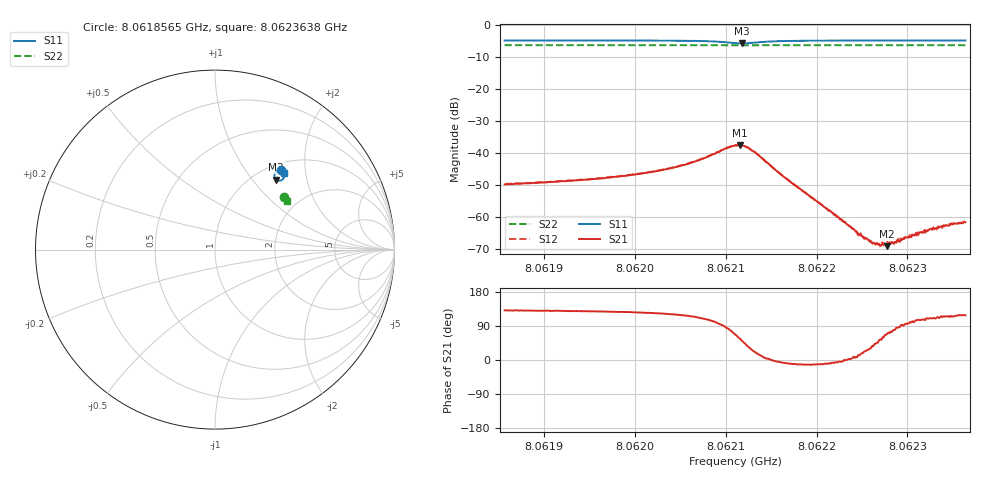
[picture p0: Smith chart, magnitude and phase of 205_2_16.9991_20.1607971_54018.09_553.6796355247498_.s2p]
#  HZ  S  RI  R  50.00
! Rohde & Schwarz Vector Network Analyzer
! Rohde-Schwarz,ZNB20-2Port,1311601062101988,3.16
! Created: UTC 3/20/2024, 11:01:13 PM
! freq[Hz]  re:S11  im:S11  re:S21  im:S21  re:S12  im:S12  re:S22  im:S22
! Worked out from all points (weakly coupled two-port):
!   401 points, 8.0618565 GHz to 8.0623638 GHz, reference 50 ohm
!   highest |S21| = -37.56 dB at 8.0621152 GHz (marker M1); lowest = -69.2 dB at 8.0622775 GHz (marker M2)
!   lowest |S11| = -5.7 dB at 8.0621177 GHz (marker M3), VSWR 3.15, Z = 62.3 + j66.5 ohm
!   |S11| at or under -10 dB: nowhere
!   |S22| runs from -6.3 to -6.3 dB; largest |S21 - S12| = 0.00097
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8.06185652e9  0.3672 0.4435  -0.0021 0.00242  -0.00199 0.0026  0.3871 0.2948
8.06194148e9  0.3737 0.4376  -0.00239 0.00292  -0.00224 0.0031  0.39 0.2906
8.06202644e9  0.3816 0.4275  -0.00286 0.00442  -0.00264 0.00463  0.3931 0.2861
8.06206448e9  0.3855 0.4161  -0.00297 0.00655  -0.00261 0.0068  0.3941 0.2839
8.06211014e9  0.3563 0.3842  0.00503 0.0121  0.00575 0.012  0.3938 0.2808
8.06211521e9  0.3454 0.3873  0.00721 0.0111  0.00799 0.0107  0.3935 0.2808
8.06211774e9  0.3405 0.3905  0.00831 0.0101  0.00887 0.00967  0.3934 0.2809
8.06213296e9  0.3317 0.4196  0.00939 0.00334  0.00959 0.00277  0.394 0.2817
8.0621634e9  0.3539 0.439  0.00424 -0.000547  0.00426 -0.000822  0.3962 0.2808
8.0621951e9  0.3661 0.4385  0.00191 -0.000434  0.00194 -0.000546  0.3978 0.2791
8.06224455e9  0.3754 0.4348  0.000568 7.13e-05  0.000552 7.32e-05  0.3996 0.2764
8.06226104e9  0.3774 0.4335  0.000311 0.000232  0.000324 0.000215  0.4001 0.2755
8.06226738e9  0.3781 0.4332  0.00026 0.000267  0.000259 0.000259  0.4004 0.2752
8.06227753e9  0.3792 0.4325  0.000124 0.000324  0.000165 0.000376  0.4007 0.2747
8.06228006e9  0.3796 0.4323  0.000127 0.000365  0.000136 0.000373  0.4008 0.2746
8.0622864e9  0.3802 0.432  7.1e-05 0.000406  7.06e-05 0.000399  0.4011 0.2744
8.06229781e9  0.3812 0.4311  -4.87e-05 0.000477  -3.08e-06 0.00044  0.4015 0.2738
8.06230416e9  0.3817 0.4307  -7.67e-05 0.000476  -7.42e-05 0.000508  0.4017 0.2735
8.0623105e9  0.3824 0.4302  -0.000137 0.000516  -0.000109 0.000501  0.4019 0.2731
8.06232571e9  0.3836 0.4294  -0.000227 0.000612  -0.000178 0.000606  0.4024 0.2724
8.06235108e9  0.3855 0.4277  -0.000326 0.000701  -0.000331 0.000742  0.4032 0.2711
8.06236376e9  0.3865 0.427  -0.000384 0.000726  -0.000361 0.000742  0.4037 0.2704
